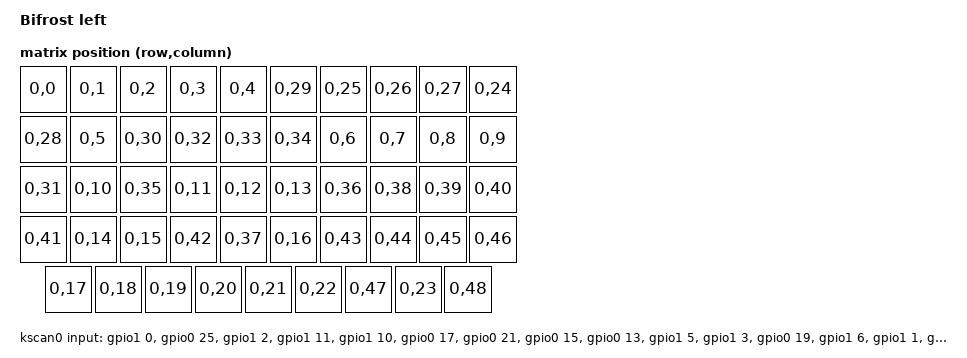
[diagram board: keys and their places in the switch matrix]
/dts-v1/;
#include <nordic/nrf52840_qiaa.dtsi>
#include <common/nordic/nrf52840_uf2_boot_mode.dtsi>
#include <dt-bindings/zmk/matrix_transform.h>

/ {
    model = "Bifrost left";
    compatible = "hringbord,bifrost_left";

    chosen {
        zephyr,sram = &sram0;
        zephyr,flash = &flash0;
        zephyr,code-partition = &code_partition;
        zmk,kscan = &kscan0;
        zmk,matrix-transform = &default_transform;
    };

    default_transform: keymap_transform_0 {
        compatible = "zmk,matrix-transform";
        columns = <49>;
        rows = <1>;
        map = <
            RC(0,0) RC(0,1) RC(0,2) RC(0,3) RC(0,4) RC(0,29) RC(0,25) RC(0,26) RC(0,27) RC(0,24)
            RC(0,28) RC(0,5) RC(0,30) RC(0,32) RC(0,33) RC(0,34) RC(0,6) RC(0,7) RC(0,8) RC(0,9)
            RC(0,31) RC(0,10) RC(0,35) RC(0,11) RC(0,12) RC(0,13) RC(0,36) RC(0,38) RC(0,39) RC(0,40)
            RC(0,41) RC(0,14) RC(0,15) RC(0,42) RC(0,37) RC(0,16) RC(0,43) RC(0,44) RC(0,45) RC(0,46)
            RC(0,17) RC(0,18) RC(0,19) RC(0,20) RC(0,21) RC(0,22) RC(0,47) RC(0,23) RC(0,48)
        >;
    };

    kscan0: kscan {
        compatible = "zmk,kscan-gpio-direct";
        wakeup-source;

        input-gpios
            = <&gpio1 0 (GPIO_ACTIVE_LOW | GPIO_PULL_UP)> /* Direct 0: P1.00 */
            , <&gpio0 25 (GPIO_ACTIVE_LOW | GPIO_PULL_UP)> /* Direct 1: P0.25 */
            , <&gpio1 2 (GPIO_ACTIVE_LOW | GPIO_PULL_UP)> /* Direct 2: P1.02 */
            , <&gpio1 11 (GPIO_ACTIVE_LOW | GPIO_PULL_UP)> /* Direct 3: P1.11 */
            , <&gpio1 10 (GPIO_ACTIVE_LOW | GPIO_PULL_UP)> /* Direct 4: P1.10 */
            , <&gpio0 17 (GPIO_ACTIVE_LOW | GPIO_PULL_UP)> /* Direct 5: P0.17 */
            , <&gpio0 21 (GPIO_ACTIVE_LOW | GPIO_PULL_UP)> /* Direct 6: P0.21 */
            , <&gpio0 15 (GPIO_ACTIVE_LOW | GPIO_PULL_UP)> /* Direct 7: P0.15 */
            , <&gpio0 13 (GPIO_ACTIVE_LOW | GPIO_PULL_UP)> /* Direct 8: P0.13 */
            , <&gpio1 5 (GPIO_ACTIVE_LOW | GPIO_PULL_UP)> /* Direct 9: P1.05 */
            , <&gpio1 3 (GPIO_ACTIVE_LOW | GPIO_PULL_UP)> /* Direct 10: P1.03 */
            , <&gpio0 19 (GPIO_ACTIVE_LOW | GPIO_PULL_UP)> /* Direct 11: P0.19 */
            , <&gpio1 6 (GPIO_ACTIVE_LOW | GPIO_PULL_UP)> /* Direct 12: P1.06 */
            , <&gpio1 1 (GPIO_ACTIVE_LOW | GPIO_PULL_UP)> /* Direct 13: P1.01 */
            , <&gpio1 12 (GPIO_ACTIVE_LOW | GPIO_PULL_UP)> /* Direct 14: P1.12 */
            , <&gpio0 3 (GPIO_ACTIVE_LOW | GPIO_PULL_UP)> /* Direct 15: P0.03 */
            , <&gpio0 2 (GPIO_ACTIVE_LOW | GPIO_PULL_UP)> /* Direct 16: P0.02 */
            , <&gpio0 23 (GPIO_ACTIVE_LOW | GPIO_PULL_UP)> /* Direct 17: P0.23 */
            , <&gpio1 7 (GPIO_ACTIVE_LOW | GPIO_PULL_UP)> /* Direct 18: P1.07 */
            , <&gpio1 4 (GPIO_ACTIVE_LOW | GPIO_PULL_UP)> /* Direct 19: P1.04 */
            , <&gpio0 7 (GPIO_ACTIVE_LOW | GPIO_PULL_UP)> /* Direct 20: P0.07 */
            , <&gpio0 30 (GPIO_ACTIVE_LOW | GPIO_PULL_UP)> /* Direct 21: P0.30 */
            , <&gpio0 28 (GPIO_ACTIVE_LOW | GPIO_PULL_UP)> /* Direct 22: P0.28 */
            , <&gpio0 26 (GPIO_ACTIVE_LOW | GPIO_PULL_UP)> /* Direct 23: P0.26 */
            ;
    };


};
/ {
    split_inputs {
        #address-cells = <1>;
        #size-cells = <0>;

        trackball_split_0: trackball_split_0@0 {
            compatible = "zmk,input-split";
            reg = <0>;
        };
    };

    trackball_listener_0: trackball_listener_0 {
        compatible = "zmk,input-listener";
        status = "disabled";
        device = <&trackball_split_0>;
    };
};

&trackball_listener_0 {
    status = "okay";
};



&gpio0 {
    status = "okay";
};

&gpio1 {
    status = "okay";
};

&gpiote {
    status = "okay";
};

zephyr_udc0: &usbd {
    status = "okay";
};

&flash0 {
    partitions {
        compatible = "fixed-partitions";
        #address-cells = <1>;
        #size-cells = <1>;

        code_partition: partition@26000 {
            label = "code_partition";
            reg = <0x00026000 0x000d2000>;
        };

        storage_partition: partition@f8000 {
            label = "storage";
            reg = <0x000f8000 0x00008000>;
        };
    };
};

